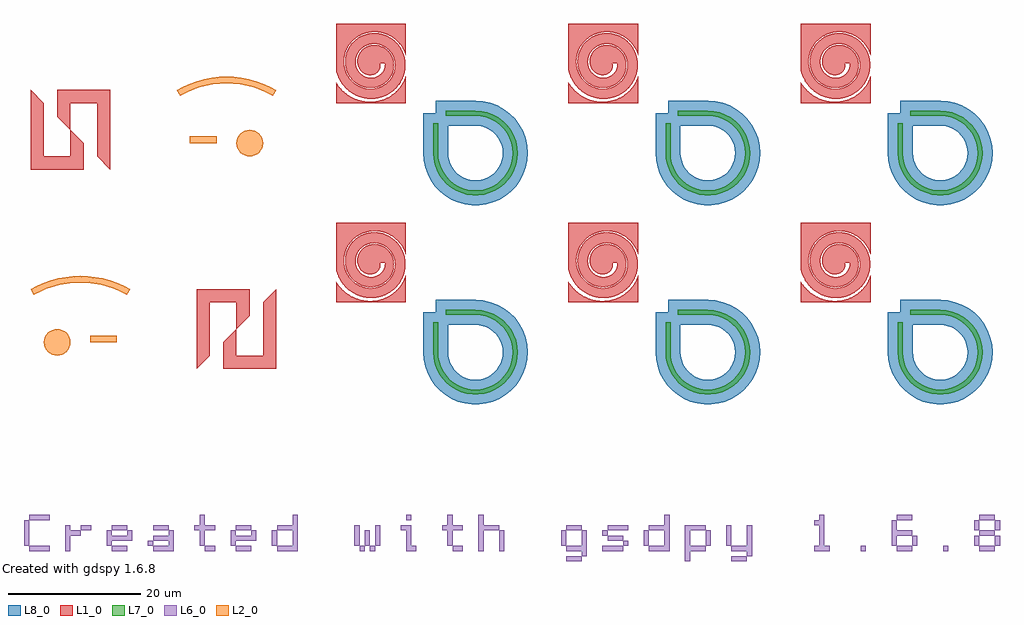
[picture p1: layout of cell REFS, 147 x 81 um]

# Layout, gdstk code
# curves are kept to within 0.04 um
from math import pi, radians
import gdstk
lib = gdstk.Library(unit=1e-6, precision=1e-09)
def R(c, l, rs):  # rectangles x0, y0, x1, y1
    for r in rs: c.add(gdstk.rectangle(r[:2], r[2:], *l))
def P(c, l, *ps):  # polygons
    for p in ps: c.add(gdstk.Polygon(p, *l))
L1_0 = (1, 0)
L2_0 = (2, 0)
L6_0 = (6, 0)
L7_0 = (7, 0)
L8_0 = (8, 0)

polygons = lib.new_cell('POLYGONS')
P(polygons, L1_0, [(0,0),(2,2),(2,6),(-6,6),(-6,-6),(-4,-4),(-4,4),(0,4)],
  [(0,0),(-2,-2),(-2,-6),(6,-6),(6,6),(4,4),(4,-4),(0,-4)])
R(polygons, L2_0, [(18,1,22,2)])
P(polygons, L2_0, [(29,2),(28.848,2.765),(28.414,3.414),(27.765,3.848),(27,4),(26.235,3.848),(25.586,3.414),(25.152,2.765),(25,2),(25.152,1.235),(25.586,0.586),(26.235,0.152),(27,0),(27.765,0.152),(28.414,0.586),(28.848,1.235)],
  [(16,-5.99),(16.992,-6.515),(18.02,-6.963),(19.079,-7.334),(20.162,-7.624),(21.264,-7.832),(22.379,-7.958),(23.5,-8),(24.621,-7.958),(25.736,-7.832),(26.838,-7.624),(27.921,-7.334),(28.98,-6.963),(30.008,-6.515),(31,-5.99),(30.5,-5.124),(29.574,-5.614),(27.627,-6.378),(25.587,-6.844),(23.5,-7),(21.413,-6.844),(19.373,-6.378),(17.426,-5.614),(16.5,-5.124)])

operations = lib.new_cell('OPERATIONS')
P(operations, L1_0, [(17,-1.271),(16.556,-2.203),(16.199,-2.655),(15.773,-3.05),(14.839,-3.589),(13.771,-3.844),(12.756,-3.803),(12.157,-3.65),(11.676,-3.45),(11.222,-3.187),(10.724,-2.793),(10.358,-2.405),(10,-1.899),(10,-4),(17,-4)],
  [(13.67,-3.547),(14.491,-3.414),(15.25,-3.094),(15.906,-2.609),(16.402,-2.025),(15.016,-2.025),(14.277,-2.425),(13.492,-2.557),(12.621,-2.414),(11.894,-2.025),(10.587,-2.025),(11.224,-2.714),(11.941,-3.181),(12.74,-3.464)],
  [(13.564,-2.456),(14.253,-2.328),(14.849,-2.025),(12.067,-2.025),(12.414,-2.222),(12.787,-2.361),(13.174,-2.44)],
  [(11.886,-2.019),(11.472,-1.629),(11.114,-1.097),(10.112,-1.097),(10.587,-2.025)],
  [(14.862,-2.016),(15.308,-1.601),(15.621,-1.097),(14.473,-1.097),(14.024,-1.369),(13.541,-1.459),(13.002,-1.368),(12.537,-1.097),(11.228,-1.097),(11.598,-1.62),(12.067,-2.025)],
  [(13.503,-1.169),(13.687,-1.142),(13.831,-1.097),(13.015,-1.097),(13.149,-1.138),(13.279,-1.162),(13.376,-1.17)],
  [(16.425,-1.991),(16.837,-1.097),(15.731,-1.097),(15.419,-1.622),(15.016,-2.025)],
  [(11.11,-1.09),(10.837,-0.25),(10,-0.25),(10,-0.707),(10.112,-1.097)],
  [(12.484,-1.051),(12.171,-0.655),(12.01,-0.25),(10.94,-0.25),(11.228,-1.097),(12.537,-1.097)],
  [(13.859,-1.086),(14.292,-0.742),(14.416,-0.492),(14.453,-0.25),(12.213,-0.25),(12.452,-0.691),(12.895,-1.046),(13.015,-1.097)],
  [(15.622,-1.094),(15.769,-0.65),(15.817,-0.25),(14.908,-0.25),(14.782,-0.689),(14.473,-1.097)],
  [(16.858,-1.022),(16.97,-0.25),(15.918,-0.25),(15.866,-0.68),(15.731,-1.097),(16.837,-1.097)],
  [(10.826,-0.179),(10.811,0.421),(10.921,1.012),(10,1.012),(10,-0.25),(10.837,-0.25)],
  [(12.001,-0.21),(11.977,0.414),(12.18,1.012),(11.031,1.012),(10.914,0.406),(10.94,-0.25),(12.01,-0.25)],
  [(15.817,-0.136),(15.711,0.471),(15.44,1.012),(12.359,1.012),(12.157,0.455),(12.143,0.088),(12.213,-0.25),(14.453,-0.25),(14.41,0),(14.91,0),(14.908,-0.25),(15.817,-0.25)],
  [(16.97,-0.243),(16.929,0.361),(16.753,1.012),(15.569,1.012),(15.831,0.438),(15.918,-0.25)],
  [(17,1.012),(16.936,1.012),(16.943,0.993),(16.973,0.908),(17,0.825)],
  [(10.923,1.02),(11.325,1.855),(10,1.855),(10,1.012)],
  [(12.188,1.026),(12.581,1.507),(13.175,1.855),(11.459,1.855),(11.031,1.012)],
  [(16.749,1.023),(16.272,1.855),(14.509,1.855),(15.121,1.512),(15.569,1.012)],
  [(17,1.855),(16.471,1.855),(16.716,1.48),(16.936,1.012),(17,1.012)],
  [(15.412,1.051),(15.085,1.399),(14.739,1.63),(14.312,1.793),(13.821,1.848),(13.391,1.787),(12.999,1.629),(12.632,1.359),(12.359,1.012)],
  [(17,4),(10,4),(10,1.855),(11.325,1.855),(11.795,2.387),(12.385,2.8),(13.066,3.067),(13.802,3.169),(14.386,3.126),(15.04,2.946),(15.791,2.529),(16.471,1.855),(17,1.855)],
  [(13.323,1.902),(13.831,1.971),(14.509,1.855),(16.272,1.855),(15.762,2.366),(15.205,2.72),(14.594,2.947),(13.876,3.042),(13.166,2.967),(12.502,2.729),(11.922,2.348),(11.459,1.855),(13.175,1.855)])
R(operations, L7_0, [(19.75,-9,20.25,-6), (21,-5.25,24,-4.75)])
P(operations, L7_0, [(24,-4.75),(24.605,-4.793),(25.197,-4.922),(25.766,-5.134),(26.298,-5.425),(26.783,-5.788),(27.212,-6.217),(27.575,-6.702),(27.866,-7.234),(28.078,-7.803),(28.207,-8.395),(28.25,-9),(27.75,-9),(27.712,-8.466),(27.411,-7.442),(26.834,-6.544),(26.456,-6.166),(25.558,-5.589),(24.534,-5.288),(24,-5.25)],
  [(28.25,-9),(28.092,-10.147),(27.898,-10.693),(27.297,-11.682),(26.901,-12.106),(25.955,-12.774),(25.423,-13.005),(24.29,-13.24),(23.71,-13.24),(22.577,-13.005),(22.045,-12.774),(21.099,-12.106),(20.703,-11.682),(20.102,-10.693),(19.908,-10.147),(19.75,-9),(20.25,-9),(20.285,-9.511),(20.56,-10.494),(21.091,-11.367),(21.44,-11.741),(22.275,-12.33),(23.237,-12.672),(23.744,-12.741),(24.763,-12.672),(25.256,-12.533),(26.163,-12.064),(26.56,-11.741),(26.909,-11.367),(27.44,-10.494),(27.715,-9.511),(27.75,-9)])
P(operations, L8_0, [(25.069,-14.142),(25.758,-13.95),(26.416,-13.664),(27.029,-13.291),(27.585,-12.839),(28.075,-12.314),(28.488,-11.729),(28.817,-11.092),(29.057,-10.417),(29.203,-9.716),(29.252,-8.999),(29.199,-8.252),(29.04,-7.521),(28.778,-6.817),(28.418,-6.16),(27.97,-5.56),(27.44,-5.03),(26.84,-4.582),(26.183,-4.222),(25.479,-3.96),(24.748,-3.801),(24.035,-3.75),(20,-3.75),(20,-5),(18.75,-5),(18.75,-8.961),(21.25,-8.961),(21.25,-6.25),(23.971,-6.25),(24.774,-6.364),(25.14,-6.5),(25.801,-6.925),(26.075,-7.199),(26.5,-7.86),(26.636,-8.226),(26.748,-8.996),(26.721,-9.378),(26.522,-10.093),(26.128,-10.739),(25.878,-11.007),(25.264,-11.44),(24.564,-11.69),(24.187,-11.741),(23.436,-11.69),(22.736,-11.44),(22.122,-11.007),(21.872,-10.739),(21.478,-10.093),(21.279,-9.378),(21.25,-8.961),(18.75,-8.961),(18.797,-9.716),(18.943,-10.417),(19.183,-11.092),(19.512,-11.729),(19.925,-12.314),(20.415,-12.839),(20.971,-13.291),(21.584,-13.664),(22.242,-13.95),(22.931,-14.142),(23.642,-14.24),(24.358,-14.24)])

refs = lib.new_cell('REFS')
R(refs, L6_0, [(43.556,-33.444,44.333,-32.667), (45.111,-33.444,45.889,-32.667), (119,-33.444,119.778,-32.667), (131.444,-33.444,132.222,-32.667), (11.667,-32.667,12.444,-31.889), (83.222,-32.667,84,-31.889), (80.111,-31.111,80.889,-30.333), (50.556,-28.778,51.333,-28)])
P(refs, L6_0, [(-7,-32.667),(-6.222,-32.667),(-6.222,-31.889),(-6.222,-31.111),(-6.222,-30.333),(-6.222,-29.556),(-6.222,-28.778),(-7,-28.778),(-7,-29.556),(-7,-30.333),(-7,-31.111),(-7,-31.889)],
  [(-6.222,-33.444),(-5.444,-33.444),(-4.667,-33.444),(-3.889,-33.444),(-3.111,-33.444),(-3.111,-32.667),(-3.889,-32.667),(-4.667,-32.667),(-5.444,-32.667),(-6.222,-32.667)],
  [(-6.222,-28.778),(-5.444,-28.778),(-4.667,-28.778),(-3.889,-28.778),(-3.111,-28.778),(-3.111,-28),(-3.889,-28),(-4.667,-28),(-5.444,-28),(-6.222,-28)],
  [(-0.778,-33.444),(0,-33.444),(0,-32.667),(0,-31.889),(0,-31.111),(0.778,-31.111),(1.556,-31.111),(1.556,-30.333),(0.778,-30.333),(0,-30.333),(0,-29.556),(-0.778,-29.556),(-0.778,-30.333),(-0.778,-31.111),(-0.778,-31.889),(-0.778,-32.667)],
  [(1.556,-30.333),(2.333,-30.333),(3.111,-30.333),(3.111,-29.556),(2.333,-29.556),(1.556,-29.556)],
  [(5.444,-32.667),(6.222,-32.667),(6.222,-31.889),(7,-31.889),(7.778,-31.889),(8.556,-31.889),(9.333,-31.889),(9.333,-31.111),(9.333,-30.333),(8.556,-30.333),(8.556,-31.111),(7.778,-31.111),(7,-31.111),(6.222,-31.111),(6.222,-30.333),(5.444,-30.333),(5.444,-31.111),(5.444,-31.889)],
  [(6.222,-33.444),(7,-33.444),(7.778,-33.444),(8.556,-33.444),(8.556,-32.667),(7.778,-32.667),(7,-32.667),(6.222,-32.667)],
  [(6.222,-30.333),(7,-30.333),(7.778,-30.333),(8.556,-30.333),(8.556,-29.556),(7.778,-29.556),(7,-29.556),(6.222,-29.556)],
  [(12.444,-33.444),(13.222,-33.444),(14,-33.444),(14.778,-33.444),(15.556,-33.444),(15.556,-32.667),(15.556,-31.889),(15.556,-31.111),(15.556,-30.333),(14.778,-30.333),(14.778,-31.111),(14,-31.111),(13.222,-31.111),(12.444,-31.111),(12.444,-31.889),(13.222,-31.889),(14,-31.889),(14.778,-31.889),(14.778,-32.667),(14,-32.667),(13.222,-32.667),(12.444,-32.667)],
  [(12.444,-30.333),(13.222,-30.333),(14,-30.333),(14.778,-30.333),(14.778,-29.556),(14,-29.556),(13.222,-29.556),(12.444,-29.556)],
  [(18.667,-30.333),(19.444,-30.333),(19.444,-31.111),(19.444,-31.889),(19.444,-32.667),(20.222,-32.667),(20.222,-31.889),(20.222,-31.111),(20.222,-30.333),(21,-30.333),(21.778,-30.333),(21.778,-29.556),(21,-29.556),(20.222,-29.556),(20.222,-28.778),(20.222,-28),(19.444,-28),(19.444,-28.778),(19.444,-29.556),(18.667,-29.556)],
  [(20.222,-33.444),(21,-33.444),(21.778,-33.444),(21.778,-32.667),(21,-32.667),(20.222,-32.667)],
  [(24.111,-32.667),(24.889,-32.667),(24.889,-31.889),(25.667,-31.889),(26.444,-31.889),(27.222,-31.889),(28,-31.889),(28,-31.111),(28,-30.333),(27.222,-30.333),(27.222,-31.111),(26.444,-31.111),(25.667,-31.111),(24.889,-31.111),(24.889,-30.333),(24.111,-30.333),(24.111,-31.111),(24.111,-31.889)],
  [(24.889,-33.444),(25.667,-33.444),(26.444,-33.444),(27.222,-33.444),(27.222,-32.667),(26.444,-32.667),(25.667,-32.667),(24.889,-32.667)],
  [(24.889,-30.333),(25.667,-30.333),(26.444,-30.333),(27.222,-30.333),(27.222,-29.556),(26.444,-29.556),(25.667,-29.556),(24.889,-29.556)],
  [(30.333,-32.667),(31.111,-32.667),(31.111,-31.889),(31.111,-31.111),(31.111,-30.333),(30.333,-30.333),(30.333,-31.111),(30.333,-31.889)],
  [(31.111,-33.444),(31.889,-33.444),(32.667,-33.444),(33.444,-33.444),(34.222,-33.444),(34.222,-32.667),(34.222,-31.889),(34.222,-31.111),(34.222,-30.333),(34.222,-29.556),(34.222,-28.778),(34.222,-28),(33.444,-28),(33.444,-28.778),(33.444,-29.556),(32.667,-29.556),(31.889,-29.556),(31.111,-29.556),(31.111,-30.333),(31.889,-30.333),(32.667,-30.333),(33.444,-30.333),(33.444,-31.111),(33.444,-31.889),(33.444,-32.667),(32.667,-32.667),(31.889,-32.667),(31.111,-32.667)],
  [(42.778,-32.667),(43.556,-32.667),(43.556,-31.889),(43.556,-31.111),(43.556,-30.333),(43.556,-29.556),(42.778,-29.556),(42.778,-30.333),(42.778,-31.111),(42.778,-31.889)],
  [(44.333,-32.667),(45.111,-32.667),(45.111,-31.889),(45.111,-31.111),(45.111,-30.333),(44.333,-30.333),(44.333,-31.111),(44.333,-31.889)],
  [(45.889,-32.667),(46.667,-32.667),(46.667,-31.889),(46.667,-31.111),(46.667,-30.333),(46.667,-29.556),(45.889,-29.556),(45.889,-30.333),(45.889,-31.111),(45.889,-31.889)],
  [(49.778,-30.333),(50.556,-30.333),(50.556,-31.111),(50.556,-31.889),(50.556,-32.667),(50.556,-33.444),(51.333,-33.444),(52.111,-33.444),(52.111,-32.667),(51.333,-32.667),(51.333,-31.889),(51.333,-31.111),(51.333,-30.333),(51.333,-29.556),(50.556,-29.556),(49.778,-29.556)],
  [(56,-30.333),(56.778,-30.333),(56.778,-31.111),(56.778,-31.889),(56.778,-32.667),(57.556,-32.667),(57.556,-31.889),(57.556,-31.111),(57.556,-30.333),(58.333,-30.333),(59.111,-30.333),(59.111,-29.556),(58.333,-29.556),(57.556,-29.556),(57.556,-28.778),(57.556,-28),(56.778,-28),(56.778,-28.778),(56.778,-29.556),(56,-29.556)],
  [(57.556,-33.444),(58.333,-33.444),(59.111,-33.444),(59.111,-32.667),(58.333,-32.667),(57.556,-32.667)],
  [(61.444,-33.444),(62.222,-33.444),(62.222,-32.667),(62.222,-31.889),(62.222,-31.111),(62.222,-30.333),(63,-30.333),(63.778,-30.333),(64.556,-30.333),(64.556,-29.556),(63.778,-29.556),(63,-29.556),(62.222,-29.556),(62.222,-28.778),(62.222,-28),(61.444,-28),(61.444,-28.778),(61.444,-29.556),(61.444,-30.333),(61.444,-31.111),(61.444,-31.889),(61.444,-32.667)],
  [(64.556,-33.444),(65.333,-33.444),(65.333,-32.667),(65.333,-31.889),(65.333,-31.111),(65.333,-30.333),(64.556,-30.333),(64.556,-31.111),(64.556,-31.889),(64.556,-32.667)],
  [(73.889,-32.667),(74.667,-32.667),(74.667,-31.889),(74.667,-31.111),(74.667,-30.333),(73.889,-30.333),(73.889,-31.111),(73.889,-31.889)],
  [(74.667,-35),(75.444,-35),(76.222,-35),(77,-35),(77,-34.222),(76.222,-34.222),(75.444,-34.222),(74.667,-34.222)],
  [(74.667,-33.444),(75.444,-33.444),(76.222,-33.444),(77,-33.444),(77,-34.222),(77.778,-34.222),(77.778,-33.444),(77.778,-32.667),(77.778,-31.889),(77.778,-31.111),(77.778,-30.333),(77,-30.333),(77,-31.111),(77,-31.889),(77,-32.667),(76.222,-32.667),(75.444,-32.667),(74.667,-32.667)],
  [(74.667,-30.333),(75.444,-30.333),(76.222,-30.333),(77,-30.333),(77,-29.556),(76.222,-29.556),(75.444,-29.556),(74.667,-29.556)],
  [(80.111,-33.444),(80.889,-33.444),(81.667,-33.444),(82.444,-33.444),(83.222,-33.444),(83.222,-32.667),(82.444,-32.667),(81.667,-32.667),(80.889,-32.667),(80.111,-32.667)],
  [(80.889,-31.889),(81.667,-31.889),(82.444,-31.889),(83.222,-31.889),(83.222,-31.111),(82.444,-31.111),(81.667,-31.111),(80.889,-31.111)],
  [(80.889,-30.333),(81.667,-30.333),(82.444,-30.333),(83.222,-30.333),(84,-30.333),(84,-29.556),(83.222,-29.556),(82.444,-29.556),(81.667,-29.556),(80.889,-29.556)],
  [(86.333,-32.667),(87.111,-32.667),(87.111,-31.889),(87.111,-31.111),(87.111,-30.333),(86.333,-30.333),(86.333,-31.111),(86.333,-31.889)],
  [(87.111,-33.444),(87.889,-33.444),(88.667,-33.444),(89.444,-33.444),(90.222,-33.444),(90.222,-32.667),(90.222,-31.889),(90.222,-31.111),(90.222,-30.333),(90.222,-29.556),(90.222,-28.778),(90.222,-28),(89.444,-28),(89.444,-28.778),(89.444,-29.556),(88.667,-29.556),(87.889,-29.556),(87.111,-29.556),(87.111,-30.333),(87.889,-30.333),(88.667,-30.333),(89.444,-30.333),(89.444,-31.111),(89.444,-31.889),(89.444,-32.667),(88.667,-32.667),(87.889,-32.667),(87.111,-32.667)],
  [(92.556,-35),(93.333,-35),(93.333,-34.222),(93.333,-33.444),(94.111,-33.444),(94.889,-33.444),(95.667,-33.444),(95.667,-32.667),(94.889,-32.667),(94.111,-32.667),(93.333,-32.667),(93.333,-31.889),(93.333,-31.111),(93.333,-30.333),(94.111,-30.333),(94.889,-30.333),(95.667,-30.333),(95.667,-29.556),(94.889,-29.556),(94.111,-29.556),(93.333,-29.556),(92.556,-29.556),(92.556,-30.333),(92.556,-31.111),(92.556,-31.889),(92.556,-32.667),(92.556,-33.444),(92.556,-34.222)],
  [(95.667,-32.667),(96.444,-32.667),(96.444,-31.889),(96.444,-31.111),(96.444,-30.333),(95.667,-30.333),(95.667,-31.111),(95.667,-31.889)],
  [(98.778,-32.667),(99.556,-32.667),(99.556,-31.889),(99.556,-31.111),(99.556,-30.333),(99.556,-29.556),(98.778,-29.556),(98.778,-30.333),(98.778,-31.111),(98.778,-31.889)],
  [(99.556,-35),(100.333,-35),(101.111,-35),(101.889,-35),(101.889,-34.222),(101.111,-34.222),(100.333,-34.222),(99.556,-34.222)],
  [(99.556,-33.444),(100.333,-33.444),(101.111,-33.444),(101.889,-33.444),(101.889,-34.222),(102.667,-34.222),(102.667,-33.444),(102.667,-32.667),(102.667,-31.889),(102.667,-31.111),(102.667,-30.333),(102.667,-29.556),(101.889,-29.556),(101.889,-30.333),(101.889,-31.111),(101.889,-31.889),(101.889,-32.667),(101.111,-32.667),(100.333,-32.667),(99.556,-32.667)],
  [(112,-33.444),(112.778,-33.444),(113.556,-33.444),(114.333,-33.444),(114.333,-32.667),(113.556,-32.667),(113.556,-31.889),(113.556,-31.111),(113.556,-30.333),(113.556,-29.556),(113.556,-28.778),(113.556,-28),(112.778,-28),(112.778,-28.778),(112,-28.778),(112,-29.556),(112.778,-29.556),(112.778,-30.333),(112.778,-31.111),(112.778,-31.889),(112.778,-32.667),(112,-32.667)],
  [(123.667,-32.667),(124.444,-32.667),(124.444,-31.889),(124.444,-31.111),(125.222,-31.111),(126,-31.111),(126.778,-31.111),(126.778,-30.333),(126,-30.333),(125.222,-30.333),(124.444,-30.333),(124.444,-29.556),(124.444,-28.778),(123.667,-28.778),(123.667,-29.556),(123.667,-30.333),(123.667,-31.111),(123.667,-31.889)],
  [(124.444,-33.444),(125.222,-33.444),(126,-33.444),(126.778,-33.444),(126.778,-32.667),(126,-32.667),(125.222,-32.667),(124.444,-32.667)],
  [(124.444,-28.778),(125.222,-28.778),(126,-28.778),(126.778,-28.778),(126.778,-28),(126,-28),(125.222,-28),(124.444,-28)],
  [(126.778,-32.667),(127.556,-32.667),(127.556,-31.889),(127.556,-31.111),(126.778,-31.111),(126.778,-31.889)],
  [(136.111,-32.667),(136.889,-32.667),(136.889,-31.889),(136.889,-31.111),(136.111,-31.111),(136.111,-31.889)],
  [(136.111,-30.333),(136.889,-30.333),(136.889,-29.556),(136.889,-28.778),(136.111,-28.778),(136.111,-29.556)],
  [(136.889,-33.444),(137.667,-33.444),(138.444,-33.444),(139.222,-33.444),(139.222,-32.667),(138.444,-32.667),(137.667,-32.667),(136.889,-32.667)],
  [(136.889,-31.111),(137.667,-31.111),(138.444,-31.111),(139.222,-31.111),(139.222,-30.333),(138.444,-30.333),(137.667,-30.333),(136.889,-30.333)],
  [(136.889,-28.778),(137.667,-28.778),(138.444,-28.778),(139.222,-28.778),(139.222,-28),(138.444,-28),(137.667,-28),(136.889,-28)],
  [(139.222,-32.667),(140,-32.667),(140,-31.889),(140,-31.111),(139.222,-31.111),(139.222,-31.889)],
  [(139.222,-30.333),(140,-30.333),(140,-29.556),(140,-28.778),(139.222,-28.778),(139.222,-29.556)])
refs.add(gdstk.Reference(polygons, (0,30), x_reflection=True))
refs.add(gdstk.Reference(polygons, (25,0), rotation=pi))
r = gdstk.Reference(operations, (25,10), magnification=1.5); r.repetition = gdstk.Repetition(3, 2, v1=(35,0), v2=(0,30)); refs.add(r)
refs.add(gdstk.Label('Created with gdspy 1.6.8', (-7,-36), layer=6, texttype=0))

lib.write_gds('REFS.gds')
